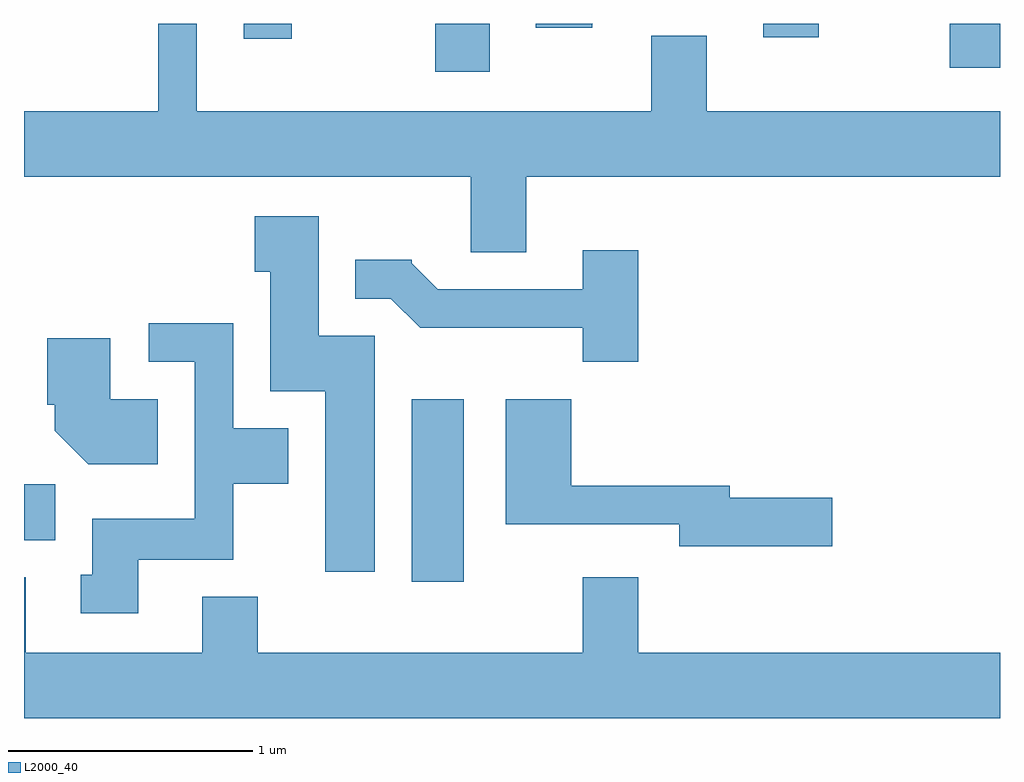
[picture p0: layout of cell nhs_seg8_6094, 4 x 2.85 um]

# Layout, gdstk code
import gdstk
lib = gdstk.Library(unit=1e-6, precision=1e-09)
def R(c, l, rs):  # rectangles x0, y0, x1, y1
    for r in rs: c.add(gdstk.rectangle(r[:2], r[2:], *l))
def P(c, l, *ps):  # polygons
    for p in ps: c.add(gdstk.Polygon(p, *l))
L2000_40 = (2000, 40)

nhs_seg8_6094 = lib.new_cell('nhs_seg8_6094')
R(nhs_seg8_6094, L2000_40, [(369.201,1868.056,369.414,1868.804), (367.611,1868.226,367.739,1868.454), (369.296,1870.146,369.519,1870.342), (371.406,1870.161,371.611,1870.342), (368.511,1870.281,368.709,1870.342), (370.641,1870.286,370.869,1870.342)])
P(nhs_seg8_6094, L2000_40, [(369.669,1869.716),(371.611,1869.716),(371.611,1869.984),(370.409,1869.984),(370.409,1870.294),(370.181,1870.294),(370.181,1869.984),(368.319,1869.984),(368.319,1870.342),(368.161,1870.342),(368.161,1869.984),(367.611,1869.984),(367.611,1869.716),(369.441,1869.716),(369.441,1869.406),(369.669,1869.406)],
  [(369.94,1870.34),(369.942,1870.342),(369.708,1870.342),(369.708,1870.326),(369.94,1870.326)],
  [(369.049,1869.064),(368.819,1869.064),(368.819,1869.554),(368.556,1869.554),(368.556,1869.326),(368.621,1869.326),(368.621,1868.836),(368.846,1868.836),(368.846,1868.096),(369.049,1868.096)],
  [(370.129,1869.414),(369.901,1869.414),(369.901,1869.254),(369.307,1869.254),(369.2,1869.361),(369.2,1869.374),(368.968,1869.374),(368.968,1869.216),(369.114,1869.216),(369.234,1869.096),(369.901,1869.096),(369.901,1868.956),(370.129,1868.956)],
  [(368.079,1868.146),(368.469,1868.146),(368.469,1868.456),(368.694,1868.456),(368.694,1868.684),(368.469,1868.684),(368.469,1869.114),(368.123,1869.114),(368.123,1868.956),(368.311,1868.956),(368.311,1868.314),(367.891,1868.314),(367.891,1868.084),(367.843,1868.084),(367.843,1867.926),(368.079,1867.926)],
  [(368.159,1868.804),(367.964,1868.804),(367.964,1869.054),(367.706,1869.054),(367.706,1868.781),(367.736,1868.781),(367.736,1868.674),(367.874,1868.536),(368.159,1868.536)],
  [(370.924,1868.399),(370.504,1868.399),(370.504,1868.449),(369.854,1868.449),(369.854,1868.804),(369.586,1868.804),(369.586,1868.291),(370.296,1868.291),(370.296,1868.201),(370.924,1868.201)],
  [(371.611,1867.764),(370.129,1867.764),(370.129,1868.074),(369.901,1868.074),(369.901,1867.764),(368.569,1867.764),(368.569,1867.994),(368.341,1867.994),(368.341,1867.764),(367.619,1867.764),(367.619,1868.074),(367.611,1868.074),(367.611,1867.496),(371.611,1867.496)])

lib.write_gds('nhs_seg8_6094.gds')
